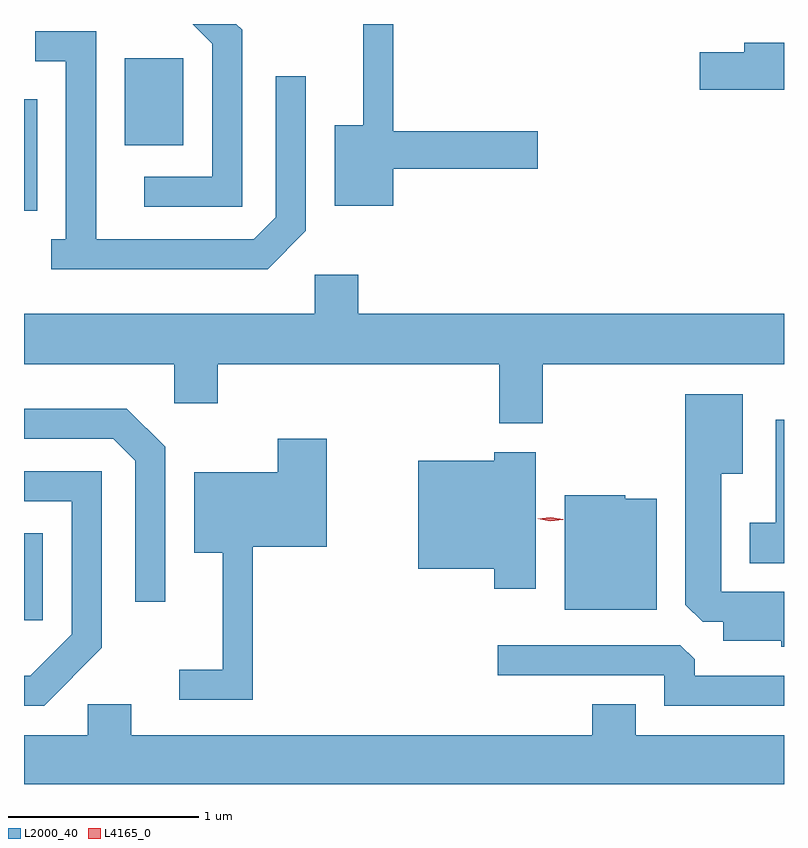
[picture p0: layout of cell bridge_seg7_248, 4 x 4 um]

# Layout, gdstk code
import gdstk
lib = gdstk.Library(unit=1e-6, precision=1e-09)
def R(c, l, rs):  # rectangles x0, y0, x1, y1
    for r in rs: c.add(gdstk.rectangle(r[:2], r[2:], *l))
def P(c, l, *ps):  # polygons
    for p in ps: c.add(gdstk.Polygon(p, *l))
L2000_40 = (2000, 40)
L4165_0 = (4165, 0)

bridge_seg7_248 = lib.new_cell('bridge_seg7_248')
R(bridge_seg7_248, L2000_40, [(1821.58,1677.451,1821.679,1677.909), (1821.58,1679.606,1821.649,1680.193), (1822.111,1679.951,1822.419,1680.409)])
P(bridge_seg7_248, L2000_40, [(1822.729,1680.557),(1822.698,1680.588),(1822.467,1680.588),(1822.571,1680.484),(1822.571,1679.784),(1822.213,1679.784),(1822.213,1679.626),(1822.729,1679.626)],
  [(1823.524,1679.826),(1824.284,1679.826),(1824.284,1680.024),(1823.524,1680.024),(1823.524,1680.588),(1823.366,1680.588),(1823.366,1680.054),(1823.216,1680.054),(1823.216,1679.631),(1823.524,1679.631)],
  [(1823.064,1679.499),(1823.064,1680.313),(1822.906,1680.313),(1822.906,1679.572),(1822.789,1679.454),(1821.959,1679.454),(1821.959,1680.549),(1821.638,1680.549),(1821.638,1680.391),(1821.801,1680.391),(1821.801,1679.454),(1821.723,1679.454),(1821.723,1679.296),(1822.862,1679.296)],
  [(1825.58,1680.489),(1825.371,1680.489),(1825.371,1680.439),(1825.136,1680.439),(1825.136,1680.241),(1825.58,1680.241)],
  [(1824.309,1678.796),(1825.58,1678.796),(1825.58,1679.064),(1823.339,1679.064),(1823.339,1679.269),(1823.111,1679.269),(1823.111,1679.064),(1821.58,1679.064),(1821.58,1678.796),(1822.371,1678.796),(1822.371,1678.591),(1822.599,1678.591),(1822.599,1678.796),(1824.081,1678.796),(1824.081,1678.486),(1824.309,1678.486)],
  [(1825.58,1677.599),(1825.249,1677.599),(1825.249,1678.221),(1825.364,1678.221),(1825.364,1678.639),(1825.061,1678.639),(1825.061,1677.532),(1825.152,1677.441),(1825.261,1677.441),(1825.261,1677.341),(1825.566,1677.341),(1825.566,1677.311),(1825.58,1677.311)],
  [(1822.324,1678.362),(1822.122,1678.564),(1821.58,1678.564),(1821.58,1678.406),(1822.049,1678.406),(1822.166,1678.289),(1822.166,1677.548),(1822.324,1677.548)],
  [(1825.58,1678.504),(1825.536,1678.504),(1825.536,1677.964),(1825.401,1677.964),(1825.401,1677.751),(1825.58,1677.751)],
  [(1822.784,1677.836),(1823.174,1677.836),(1823.174,1678.404),(1822.916,1678.404),(1822.916,1678.229),(1822.476,1678.229),(1822.476,1677.806),(1822.626,1677.806),(1822.626,1677.189),(1822.398,1677.189),(1822.398,1677.031),(1822.784,1677.031)],
  [(1824.274,1678.334),(1824.056,1678.334),(1824.056,1678.289),(1823.656,1678.289),(1823.656,1677.721),(1824.056,1677.721),(1824.056,1677.616),(1824.274,1677.616)],
  [(1821.989,1677.304),(1821.989,1678.234),(1821.58,1678.234),(1821.58,1678.076),(1821.831,1678.076),(1821.831,1677.377),(1821.614,1677.159),(1821.58,1677.159),(1821.58,1677.001),(1821.687,1677.001)],
  [(1824.909,1678.089),(1824.744,1678.089),(1824.744,1678.109),(1824.426,1678.109),(1824.426,1677.506),(1824.909,1677.506)],
  [(1825.58,1677.159),(1825.109,1677.159),(1825.109,1677.244),(1825.034,1677.319),(1824.073,1677.319),(1824.073,1677.161),(1824.951,1677.161),(1824.951,1677.001),(1825.58,1677.001)],
  [(1825.58,1676.844),(1824.799,1676.844),(1824.799,1677.009),(1824.571,1677.009),(1824.571,1676.844),(1822.144,1676.844),(1822.144,1677.009),(1821.916,1677.009),(1821.916,1676.844),(1821.58,1676.844),(1821.58,1676.588),(1825.58,1676.588)])
P(bridge_seg7_248, L4165_0, [(1824.351,1677.972),(1824.285,1677.983),(1824.285,1677.983),(1824.285,1677.984),(1824.352,1677.992),(1824.417,1677.981),(1824.418,1677.98),(1824.417,1677.98)])

lib.write_gds('bridge_seg7_248.gds')
